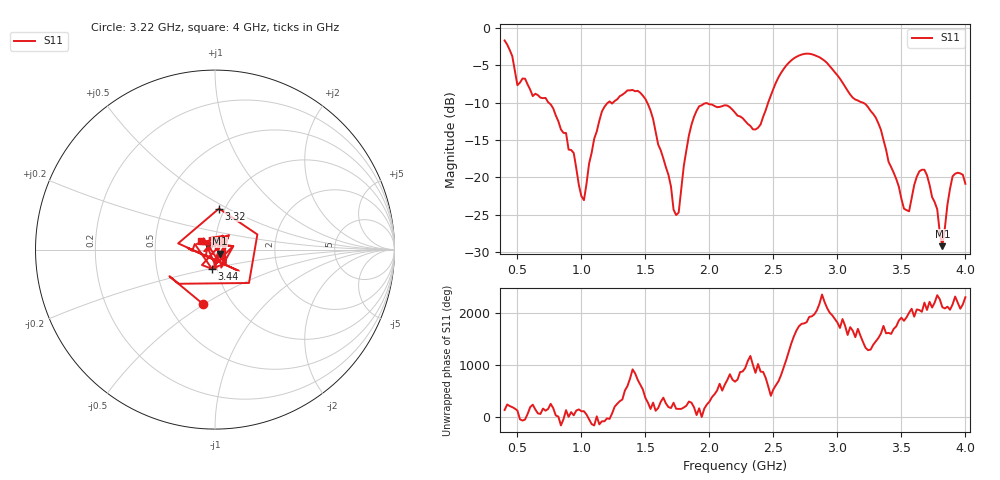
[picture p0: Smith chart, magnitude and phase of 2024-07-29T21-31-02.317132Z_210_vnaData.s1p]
!Created with skrf (http://scikit-rf.org).
# Hz S RI R 50.0
!freq ReS11 ImS11
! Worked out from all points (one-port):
!   181 points, 400 MHz to 4 GHz, reference 50 ohm
!   lowest |S11| = -29.2 dB at 3.82 GHz (marker M1), VSWR 1.07, Z = 52.6 - j2.46 ohm
!   |S11| at or under -10 dB: 743.1 MHz to 1.209 GHz (465.5 MHz wide, 47.7 % of centre); 1.514 GHz to 2.459 GHz (945.4 MHz wide, 47.6 % of centre); 3.198 GHz to end of sweep (the widest 3 of 4)
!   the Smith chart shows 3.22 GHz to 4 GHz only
!   S11 on the Smith chart (normalised r, x): 3.22 GHz: 0.73, -0.49; 3.32 GHz: 0.94, +0.45; 3.44 GHz: 0.94, -0.20; 4 GHz: 0.85, +0.08
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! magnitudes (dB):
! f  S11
! 400 MHz  -1.7
! 500 MHz  -7.7
! 720 MHz  -9.4
! 860 MHz  -14.1
! 1.02 GHz  -23.1
! 1.16 GHz  -11.2
! 1.3 GHz  -9.1
! 1.5 GHz  -9.5
! 1.68 GHz  -19.7
! 1.72 GHz  -24.3
! 1.76 GHz  -24.7
! 1.84 GHz  -14.4
! 1.9 GHz  -11.1
! 2.2 GHz  -11.3
! 2.38 GHz  -13.4
! 2.66 GHz  -4.1
! 2.86 GHz  -3.9
! 3.1 GHz  -8.9
! 3.22 GHz  -10.2
! 3.32 GHz  -12.8
! 3.44 GHz  -19.4
! 3.56 GHz  -24.5
! 3.62 GHz  -19.9
! 3.68 GHz  -19.0
! 3.78 GHz  -24.3
! 3.82 GHz  -29.2
! 3.9 GHz  -19.9
! 4 GHz  -20.9
